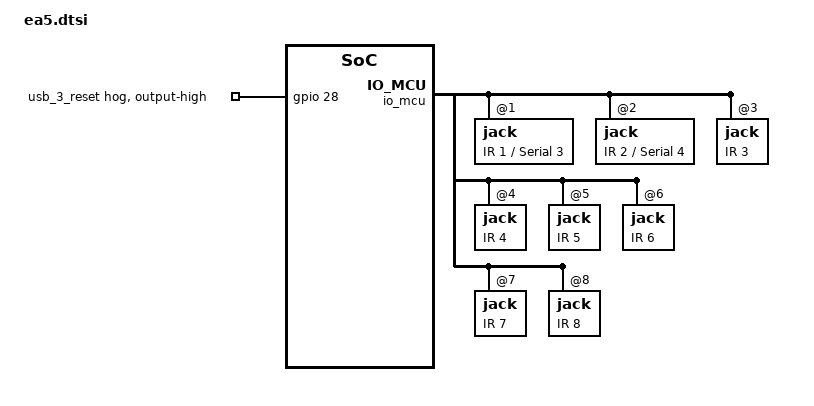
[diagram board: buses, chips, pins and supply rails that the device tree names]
// SPDX-License-Identifier: GPL-2.0
/* Control4 EA-5 ("garmadon"). See site/src/content/docs/ea/ea5.md. */
#include "ea.dtsi"

#define EA_LINE_28	"usb_3_reset"

&gpio {
	usb-3-reset-hog {
		gpio-hog;
		gpios = <28 GPIO_ACTIVE_HIGH>;
		output-high;
		line-name = "usb_3_reset";
	};
};

/*
 * Eight IR jacks; IR 1 and 2 double as serial ports 3 and 4 (1 and 2 are the
 * DB9s, which are not on the MCU).
 */
&io_mcu {
	control4,relays = <4>;
	control4,contacts = <4>;
	control4,ir-blaster;
	control4,ir-receiver;

	jack@1 {
		reg = <1>;
		label = "IR 1 / Serial 3";
		control4,ir-channel = <0>;
		control4,uart = <0>;
	};
	jack@2 {
		reg = <2>;
		label = "IR 2 / Serial 4";
		control4,ir-channel = <1>;
		control4,uart = <1>;
	};
	jack@3 {
		reg = <3>;
		label = "IR 3";
		control4,ir-channel = <2>;
	};
	jack@4 {
		reg = <4>;
		label = "IR 4";
		control4,ir-channel = <3>;
	};
	jack@5 {
		reg = <5>;
		label = "IR 5";
		control4,ir-channel = <4>;
	};
	jack@6 {
		reg = <6>;
		label = "IR 6";
		control4,ir-channel = <5>;
	};
	jack@7 {
		reg = <7>;
		label = "IR 7";
		control4,ir-channel = <6>;
	};
	jack@8 {
		reg = <8>;
		label = "IR 8";
		control4,ir-channel = <7>;
	};
};
